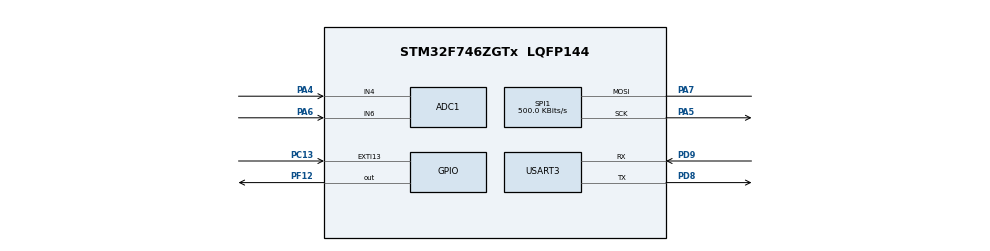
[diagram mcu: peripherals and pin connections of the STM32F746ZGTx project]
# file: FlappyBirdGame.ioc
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ADC1.Channel-0\#ChannelRegularConversion=ADC_CHANNEL_6
ADC1.Channel-1\#ChannelInjectedConversion=ADC_CHANNEL_4
ADC1.Channel-2\#ChannelInjectedConversion=ADC_CHANNEL_4
ADC1.InjNumberOfConversion=2
ADC1.InjectedOffset-1\#ChannelInjectedConversion=0
ADC1.InjectedOffset-2\#ChannelInjectedConversion=0
ADC1.InjectedRank-1\#ChannelInjectedConversion=1
ADC1.InjectedRank-2\#ChannelInjectedConversion=2
ADC1.NbrOfConversionFlag=1
ADC1.Rank-0\#ChannelRegularConversion=1
ADC1.SamplingTime-0\#ChannelRegularConversion=ADC_SAMPLETIME_3CYCLES
ADC1.SamplingTime-1\#ChannelInjectedConversion=ADC_SAMPLETIME_3CYCLES
ADC1.SamplingTime-2\#ChannelInjectedConversion=ADC_SAMPLETIME_3CYCLES
ADC1.ScanConvMode=ADC_SCAN_ENABLE
ADC1.master=1
Mcu.Family=STM32F7
Mcu.Name=STM32F746ZGTx
Mcu.Package=LQFP144
NVIC.EXTI15_10_IRQn=true\:0\:0\:false\:false\:true\:true\:true\:true
NVIC.PriorityGroup=NVIC_PRIORITYGROUP_4
NVIC.SPI1_IRQn=true\:0\:0\:false\:false\:true\:true\:true\:true
NVIC.TIM1_UP_TIM10_IRQn=true\:0\:0\:false\:false\:true\:true\:true\:true
PA13.Mode=Serial_Wire
PA13.Signal=SYS_JTMS-SWDIO
PA14.Mode=Serial_Wire
PA14.Signal=SYS_JTCK-SWCLK
PA4.Signal=ADCx_IN4
PA5.Mode=Simplex_Bidirectional_Master
PA5.Signal=SPI1_SCK
PA6.Signal=ADCx_IN6
PA7.Mode=Simplex_Bidirectional_Master
PA7.Signal=SPI1_MOSI
PC13.GPIO_ModeDefaultEXTI=GPIO_MODE_IT_FALLING
PC13.Signal=GPXTI13
PD8.Mode=Asynchronous
PD8.Signal=USART3_TX
PD9.Mode=Asynchronous
PD9.Signal=USART3_RX
PF12.Signal=GPIO_Output
ProjectManager.HeapSize=0x200
ProjectManager.StackSize=0x400
ProjectManager.TargetToolchain=STM32CubeIDE
RCC.HSE_VALUE=25000000
RCC.HSI_VALUE=16000000
RCC.LSE_VALUE=32768
RCC.USBFreq_Value=96000000
RCC.VCOOutputFreq_Value=192000000
SH.ADCx_IN4.0=ADC1_IN4,IN4
SH.ADCx_IN6.0=ADC1_IN6,IN6
SPI1.BaudRatePrescaler=SPI_BAUDRATEPRESCALER_32
SPI1.CalculateBaudRate=500.0 KBits/s
SPI1.DataSize=SPI_DATASIZE_8BIT
SPI1.Direction=SPI_DIRECTION_1LINE
SPI1.Mode=SPI_MODE_MASTER
SPI1.VirtualType=VM_MASTER
TIM1.Period=19999
TIM1.Prescaler=1599
USART3.VirtualMode-Asynchronous=VM_ASYNC
VP_RNG_VS_RNG.Mode=RNG_Activate
VP_TIM1_VS_ClockSourceINT.Mode=Internal
board=custom

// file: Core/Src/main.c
/* USER CODE BEGIN Header */
/**
  ******************************************************************************
  * @file           : main.c
  * @brief          : Main program body
  ******************************************************************************
  * @attention
  *
  * Copyright (c) 2022 STMicroelectronics.
  * All rights reserved.
  *
  * This software is licensed under terms that can be found in the LICENSE file
  * in the root directory of this software component.
  * If no LICENSE file comes with this software, it is provided AS-IS.
  *
  ******************************************************************************
  */
/* USER CODE END Header */
#include "main.h"

/* USER CODE BEGIN PD */
#define MAX_LED_MATRIX  4
#define OP_NOOP         0
#define OP_DIGIT0       1
#define OP_DIGIT1       2
#define OP_DIGIT2       3
#define OP_DIGIT3       4
#define OP_DIGIT4       5
#define OP_DIGIT5       6
#define OP_DIGIT6       7
#define OP_DIGIT7       8
#define OP_DECODEMODE   9
#define OP_INTENSITY   10
#define OP_SCANLIMIT   11
#define OP_SHUTDOWN    12
#define OP_DISPLAYTEST 15
/* USER CODE END PD */

 ADC_HandleTypeDef hadc1;

RNG_HandleTypeDef hrng;

SPI_HandleTypeDef hspi1;

TIM_HandleTypeDef htim1;

UART_HandleTypeDef huart3;

/* USER CODE BEGIN PV */

typedef struct{
	uint8_t x;
	uint8_t y;
}coordinate;

int isPlaying = 1;
coordinate position = {0, OP_DIGIT7};

// row - screen number
// column - state on row
volatile uint8_t map[4][8]={
		{0x00, 0x00, 0x00, 0x00, 0x00, 0x00, 0x00, 0x00},
		{0x00, 0x00, 0x00, 0x00, 0x00, 0x00, 0x00, 0x00},
		{0x00, 0x00, 0x00, 0x00, 0x00, 0x00, 0x00, 0x00},
		{0x00, 0x00, 0x00, 0x00, 0x00, 0x00, 0x00, 0x00},
 };

uint8_t cell[8] = {0x01, 0x02, 0x04, 0x08, 0x10, 0x20, 0x40, 0x80};

char trans_str[64] = {0,};

/* USER CODE END PV */

void SystemClock_Config(void);
static void MX_GPIO_Init(void);
static void MX_SPI1_Init(void);
static void MX_ADC1_Init(void);
static void MX_USART3_UART_Init(void);
static void MX_TIM1_Init(void);
static void MX_RNG_Init(void);

/* USER CODE BEGIN 0 */

// the function writes LOSE word on the LED screen
void write_Lose(){
	uint8_t buf[2];
	uint8_t L[8] = {0x04,0x04,0x04,0x04,0x04,0x04,0x04,0x7C};
	uint8_t O[8] = {0x3C,0x42,0x42,0x42,0x42,0x42,0x42,0x3C};
	uint8_t S[8] = {0x78,0x04,0x04,0x04,0x38,0x40,0x40,0x3C};
	uint8_t E[8] = {0x7C,0x04,0x04,0x7C,0x04,0x04,0x04,0x7C};
	for(int i = 0; i < 8; i++){
	HAL_GPIO_WritePin (GPIOF, GPIO_PIN_12, GPIO_PIN_RESET);  // pull the CS pin LOW
		buf[0] = 8 - i;
		buf[1] = E[i];
		HAL_SPI_Transmit_IT (&hspi1, buf, 2);

		buf[0] = 8 - i;
		buf[1] = S[i];
		HAL_SPI_Transmit_IT (&hspi1, buf, 2);

		buf[0] = 8 - i;
		buf[1] = O[i];
		HAL_SPI_Transmit_IT (&hspi1, buf, 2);

		buf[0] = 8 - i;
		buf[1] = L[i];
		HAL_SPI_Transmit_IT (&hspi1, buf, 2);
	HAL_GPIO_WritePin (GPIOF, GPIO_PIN_12, GPIO_PIN_SET);  // pull the CS pin HIGH
	HAL_Delay(100);
	}
}

// the function draws obstacles
void draw_bar(){
	uint8_t buf[2];
	for(int i = 1; i < 9; i++){
		buf[0] = i;
		HAL_GPIO_WritePin (GPIOF, GPIO_PIN_12, GPIO_PIN_RESET);  // pull the CS pin LOW
		for(int j = 4; j >= 1; j--){
			// if the row not null
			if(map[j-1][i-1] != 0){
				// if we reach the end of the screen, move to the next
				if((map[j-1][i-1] & 0x01) != 0){
					if(j == 1){
						map[j-1][i-1] &= (~0x01);
					}
					else{
						map[j-1][i-1] &= (~0x01);
						map[j-2][i-1] |= 0x80;
					}
				}
				else{
					// move obstacles
					uint8_t temp = map[j-1][i-1] >> 1;
					map[j-1][i-1] = temp;
				}
			}
			buf[1] = map[j-1][i-1];
			HAL_SPI_Transmit_IT (&hspi1, buf, 2);
		}
		HAL_GPIO_WritePin (GPIOF, GPIO_PIN_12, GPIO_PIN_SET);  // pull the CS pin HIGH
	}
}

// the function checks collisions between bird and environment
void check_collision(){
	// the bird fell to the ground
	if((position.y - 1) < OP_DIGIT0)
		isPlaying = 0;

	// we are on the top
	if((position.y + 1) > OP_DIGIT7)
		position.y -= 1;

	// we have finally reached the screen, start from the beginning
	if(position.x + 1 >= 32)
		position.x = 0;

	// checking the collisions between bird and obstacles
	uint8_t screen = 0;
	if (position.x + 1  < 8)
		screen = 1;
	else if((position.x + 1) >= 8 && (position.x + 1) < 16)
		screen = 2;
	else if((position.x + 1) >= 16 && (position.x + 1)< 24)
		screen = 3;
	else
		screen = 4;

	uint8_t dot = map[screen-1][position.y];
	dot &= cell[(position.x + 1)%8];
	if (dot != 0){
		isPlaying = 0;
	}
}

// the function draws our bird
void draw_cell (uint8_t x, uint8_t y) {
	if(x > 31 || x < 0)
		return;
	if(y > 8 || y < 1)
		return;

	uint8_t screen = 0;
	uint8_t dot = cell[x%8];

	if (x < 8)
		screen = 1;
	else if(x >= 8 && x < 16)
		screen = 2;
	else if(x >= 16 && x < 24)
		screen = 3;
	else
		screen = 4;

	uint8_t buf[2];
	buf[0] = y;
	HAL_GPIO_WritePin (GPIOF, GPIO_PIN_12, GPIO_PIN_RESET);  // pull the CS pin LOW
	for(int i = 4; i >= 1; i--){
		buf[1] = map[i-1][y-1];
		if(i == screen){
			if(map[i-1][y-1] != 0x00){
				dot = map[i-1][y-1];
				dot |= cell[x%8];
				buf[1] = dot;
			}
			else
				buf[1] = dot;
		}
		HAL_SPI_Transmit_IT (&hspi1, buf, 2);
	}
	HAL_GPIO_WritePin (GPIOF, GPIO_PIN_12, GPIO_PIN_SET);  // pull the CS pin HIGH
}

// the function clears bird's old position
void clear_cell (uint8_t x, uint8_t y){
	if(x > 31 || x < 0)
		return;
	if(y > 8 || y < 1)
		return;

	uint8_t screen = 0;
	uint8_t dot = 0x00;

	if (x < 8)
		screen = 1;
	else if(x >= 8 && x < 16)
		screen = 2;
	else if(x >= 16 && x < 24)
		screen = 3;
	else
		screen = 4;

	uint8_t buf[2];
	buf[0] = y;
	HAL_GPIO_WritePin (GPIOF, GPIO_PIN_12, GPIO_PIN_RESET);  // pull the CS pin LOW
	for(int i = 4; i >= 1; i--){
		buf[1] = map[i-1][y-1];
		if(i == screen){
			if(map[i-1][y-1] != 0x00){
				dot = map[i-1][y-1];
				dot &= (~cell[x%8]);
				buf[1] = dot;
			}
			else
				buf[1] = 0x00;
		}
		HAL_SPI_Transmit_IT (&hspi1, buf, 2);
	}
	HAL_GPIO_WritePin (GPIOF, GPIO_PIN_12, GPIO_PIN_SET);  // pull the CS pin HIGH
}

// the function clears whole screen
void clear_all(){
	uint8_t buf[2];
	for(int i = 1; i < 9; i++){
		buf[0] = i;
		buf[1] = 0x00;
		HAL_GPIO_WritePin (GPIOF, GPIO_PIN_12, GPIO_PIN_RESET);  // pull the CS pin LOW
		for(int j = 4; j >= 1; j--){
			HAL_SPI_Transmit_IT (&hspi1, buf, 2);
			map[j-1][i-1] = 0x00;
		}
		HAL_GPIO_WritePin (GPIOF, GPIO_PIN_12, GPIO_PIN_SET);  // pull the CS pin HIGH
	}
}

// the draws bird's next position depending on ADC data
void move(uint16_t x_raw, uint16_t y_raw){
	// parsing raw data
	if(x_raw < 1000 && y_raw < 1000){
		snprintf(trans_str, 63, "down\n\r");
		HAL_UART_Transmit(&huart3, (uint8_t*)trans_str, strlen(trans_str), 1000);
		check_collision();
		position.x += 1;
		position.y -= 1;
		draw_cell(position.x, position.y);
	}
	else if(x_raw > 4000 && y_raw > 4000){
		snprintf(trans_str, 63, "up\n\r");
		HAL_UART_Transmit(&huart3, (uint8_t*)trans_str, strlen(trans_str), 1000);
		check_collision();
		position.x += 1;
		position.y += 1;
		draw_cell(position.x, position.y);
	}
	else{
		snprintf(trans_str, 63, "falling\n\r");
		HAL_UART_Transmit(&huart3, (uint8_t*)trans_str, strlen(trans_str), 1000);
		check_collision();
		position.x += 1;
		position.y -= 1;
		draw_cell(position.x, position.y);
	}
}

// initialize screen
void matrix_init(void) {
	uint8_t buf[2];
	HAL_Delay(500);
	buf[0] = OP_DISPLAYTEST;
	buf[1] = 0x00;
	HAL_GPIO_WritePin(GPIOF, GPIO_PIN_12, GPIO_PIN_RESET);
	HAL_SPI_Transmit_IT (&hspi1, buf, 2);
	HAL_SPI_Transmit_IT (&hspi1, buf, 2);
	HAL_SPI_Transmit_IT (&hspi1, buf, 2);
	HAL_SPI_Transmit_IT (&hspi1, buf, 2);
	HAL_GPIO_WritePin(GPIOF, GPIO_PIN_12, GPIO_PIN_SET);

	buf[0] = OP_SCANLIMIT;
	buf[1] = 0x07;
	HAL_GPIO_WritePin(GPIOF, GPIO_PIN_12, GPIO_PIN_RESET);
	HAL_SPI_Transmit_IT (&hspi1, buf, 2);
	HAL_SPI_Transmit_IT (&hspi1, buf, 2);
	HAL_SPI_Transmit_IT (&hspi1, buf, 2);
	HAL_SPI_Transmit_IT (&hspi1, buf, 2);
	HAL_GPIO_WritePin(GPIOF, GPIO_PIN_12, GPIO_PIN_SET);

	buf[0] = OP_DECODEMODE;
	buf[1] = 0x00;
	HAL_GPIO_WritePin(GPIOF, GPIO_PIN_12, GPIO_PIN_RESET);
	HAL_SPI_Transmit_IT (&hspi1, buf, 2);
	HAL_SPI_Transmit_IT (&hspi1, buf, 2);
	HAL_SPI_Transmit_IT (&hspi1, buf, 2);
	HAL_SPI_Transmit_IT (&hspi1, buf, 2);
	HAL_GPIO_WritePin(GPIOF, GPIO_PIN_12, GPIO_PIN_SET);

	buf[0] = OP_SHUTDOWN;
	buf[1] = 0x01;
	HAL_GPIO_WritePin(GPIOF, GPIO_PIN_12, GPIO_PIN_RESET);
	HAL_SPI_Transmit_IT (&hspi1, buf, 2);
	HAL_SPI_Transmit_IT (&hspi1, buf, 2);
	HAL_SPI_Transmit_IT (&hspi1, buf, 2);
	HAL_SPI_Transmit_IT (&hspi1, buf, 2);
	HAL_GPIO_WritePin(GPIOF, GPIO_PIN_12, GPIO_PIN_SET);

	buf[0] = OP_INTENSITY;
	buf[1] = 0x05;
	HAL_GPIO_WritePin(GPIOF, GPIO_PIN_12, GPIO_PIN_RESET);
	HAL_SPI_Transmit_IT (&hspi1, buf, 2);
	HAL_SPI_Transmit_IT (&hspi1, buf, 2);
	HAL_SPI_Transmit_IT (&hspi1, buf, 2);
	HAL_SPI_Transmit_IT (&hspi1, buf, 2);
	HAL_GPIO_WritePin(GPIOF, GPIO_PIN_12, GPIO_PIN_SET);
}

// every 2 sec we randomly create new obstacles
void HAL_TIM_PeriodElapsedCallback(TIM_HandleTypeDef *htim)
{
        if(htim->Instance == TIM1) //check if the interrupt comes from TIM1
        {
        	uint8_t temp;
        	uint32_t num = HAL_RNG_GetRandomNumber(&hrng);
        	if(num < 1431655765){
        		temp = map[3][5] | 0x80;
        		map[3][5] = temp;
        		temp = map[3][6] | 0x80;
        		map[3][6] = temp;
        		temp = map[3][7] | 0x80;
        		map[3][7] = temp;
        	}
        	else if((num >= 1431655765) & (num < 2863311530)){
        		temp = map[3][2] | 0x80;
      		 	map[3][2] = temp;
        		temp = map[3][3] | 0x80;
      		 	map[3][3] = temp;
        		temp = map[3][4] | 0x80;
      		 	map[3][4] = temp;
        	}
        	else{
        		temp = map[3][0] | 0x80;
        		map[3][0] = temp;
        		temp = map[3][1] | 0x80;
        		map[3][1] = temp;
        	}
        }
}

// restart game
void HAL_GPIO_EXTI_Callback(uint16_t GPIO_Pin) {
	clear_all();
	isPlaying = 1;
	position.x = 0;
	position.y = OP_DIGIT7;
}

/* USER CODE END 0 */

int main(void)
{

  /* MCU Configuration--------------------------------------------------------*/

  /* Reset of all peripherals, Initializes the Flash interface and the Systick. */
  HAL_Init();

  /* Configure the system clock */
  SystemClock_Config();

  /* Initialize all configured peripherals */
  MX_GPIO_Init();
  MX_SPI1_Init();
  MX_ADC1_Init();
  MX_USART3_UART_Init();
  MX_TIM1_Init();
  MX_RNG_Init();
  /* USER CODE BEGIN 2 */

  matrix_init();

  HAL_Delay(500);

  clear_all();

  __HAL_TIM_CLEAR_FLAG(&htim1, TIM_SR_UIF); // очищаем флаг
  HAL_TIM_Base_Start_IT(&htim1);

  /* USER CODE END 2 */

  /* Infinite loop */
  /* USER CODE BEGIN WHILE */
  while (1)
  {
	  if(isPlaying){
		  HAL_ADCEx_InjectedStart(&hadc1);
		  HAL_ADC_PollForConversion(&hadc1,100);
		  // the result of polling each channel is written to its own register, and we pick it up and copy it to a variable
		  uint16_t x_raw = HAL_ADCEx_InjectedGetValue(&hadc1, ADC_INJECTED_RANK_1);
		  uint16_t y_raw = HAL_ADCEx_InjectedGetValue(&hadc1, ADC_INJECTED_RANK_2);

		  draw_bar();
		  move(x_raw, y_raw);
		  HAL_Delay(500);
		  clear_cell(position.x, position.y);
	  	  }
	  	  else{
	  		  write_Lose();
	  	  }

    /* USER CODE END WHILE */

  }
}

void SystemClock_Config(void)
{
  RCC_OscInitTypeDef RCC_OscInitStruct = {0};
  RCC_ClkInitTypeDef RCC_ClkInitStruct = {0};

  /** Configure the main internal regulator output voltage
  */
  __HAL_RCC_PWR_CLK_ENABLE();
  __HAL_PWR_VOLTAGESCALING_CONFIG(PWR_REGULATOR_VOLTAGE_SCALE3);

  /** Initializes the RCC Oscillators according to the specified parameters
  * in the RCC_OscInitTypeDef structure.
  */
  RCC_OscInitStruct.OscillatorType = RCC_OSCILLATORTYPE_HSI;
  RCC_OscInitStruct.HSIState = RCC_HSI_ON;
  RCC_OscInitStruct.HSICalibrationValue = RCC_HSICALIBRATION_DEFAULT;
  RCC_OscInitStruct.PLL.PLLState = RCC_PLL_ON;
  RCC_OscInitStruct.PLL.PLLSource = RCC_PLLSOURCE_HSI;
  RCC_OscInitStruct.PLL.PLLM = 16;
  RCC_OscInitStruct.PLL.PLLN = 192;
  RCC_OscInitStruct.PLL.PLLP = RCC_PLLP_DIV2;
  RCC_OscInitStruct.PLL.PLLQ = 2;
  if (HAL_RCC_OscConfig(&RCC_OscInitStruct) != HAL_OK)
  {
    Error_Handler();
  }

  /** Initializes the CPU, AHB and APB buses clocks
  */
  RCC_ClkInitStruct.ClockType = RCC_CLOCKTYPE_HCLK|RCC_CLOCKTYPE_SYSCLK
                              |RCC_CLOCKTYPE_PCLK1|RCC_CLOCKTYPE_PCLK2;
  RCC_ClkInitStruct.SYSCLKSource = RCC_SYSCLKSOURCE_HSI;
  RCC_ClkInitStruct.AHBCLKDivider = RCC_SYSCLK_DIV1;
  RCC_ClkInitStruct.APB1CLKDivider = RCC_HCLK_DIV1;
  RCC_ClkInitStruct.APB2CLKDivider = RCC_HCLK_DIV1;

  if (HAL_RCC_ClockConfig(&RCC_ClkInitStruct, FLASH_LATENCY_0) != HAL_OK)
  {
    Error_Handler();
  }
}

static void MX_ADC1_Init(void)
{

  ADC_ChannelConfTypeDef sConfig = {0};
  ADC_InjectionConfTypeDef sConfigInjected = {0};

  /** Configure the global features of the ADC (Clock, Resolution, Data Alignment and number of conversion)
  */
  hadc1.Instance = ADC1;
  hadc1.Init.ClockPrescaler = ADC_CLOCK_SYNC_PCLK_DIV2;
  hadc1.Init.Resolution = ADC_RESOLUTION_12B;
  hadc1.Init.ScanConvMode = ADC_SCAN_ENABLE;
  hadc1.Init.ContinuousConvMode = DISABLE;
  hadc1.Init.DiscontinuousConvMode = DISABLE;
  hadc1.Init.ExternalTrigConvEdge = ADC_EXTERNALTRIGCONVEDGE_NONE;
  hadc1.Init.ExternalTrigConv = ADC_SOFTWARE_START;
  hadc1.Init.DataAlign = ADC_DATAALIGN_RIGHT;
  hadc1.Init.NbrOfConversion = 1;
  hadc1.Init.DMAContinuousRequests = DISABLE;
  hadc1.Init.EOCSelection = ADC_EOC_SINGLE_CONV;
  if (HAL_ADC_Init(&hadc1) != HAL_OK)
  {
    Error_Handler();
  }

  /** Configure for the selected ADC regular channel its corresponding rank in the sequencer and its sample time.
  */
  sConfig.Channel = ADC_CHANNEL_6;
  sConfig.Rank = ADC_REGULAR_RANK_1;
  sConfig.SamplingTime = ADC_SAMPLETIME_3CYCLES;
  if (HAL_ADC_ConfigChannel(&hadc1, &sConfig) != HAL_OK)
  {
    Error_Handler();
  }

  /** Configures for the selected ADC injected channel its corresponding rank in the sequencer and its sample time
  */
  sConfigInjected.InjectedChannel = ADC_CHANNEL_4;
  sConfigInjected.InjectedRank = ADC_INJECTED_RANK_1;
  sConfigInjected.InjectedNbrOfConversion = 2;
  sConfigInjected.InjectedSamplingTime = ADC_SAMPLETIME_3CYCLES;
  sConfigInjected.ExternalTrigInjecConvEdge = ADC_EXTERNALTRIGINJECCONVEDGE_NONE;
  sConfigInjected.ExternalTrigInjecConv = ADC_INJECTED_SOFTWARE_START;
  sConfigInjected.AutoInjectedConv = DISABLE;
  sConfigInjected.InjectedDiscontinuousConvMode = DISABLE;
  sConfigInjected.InjectedOffset = 0;
  if (HAL_ADCEx_InjectedConfigChannel(&hadc1, &sConfigInjected) != HAL_OK)
  {
    Error_Handler();
  }

  /** Configures for the selected ADC injected channel its corresponding rank in the sequencer and its sample time
  */
  sConfigInjected.InjectedRank = ADC_INJECTED_RANK_2;
  if (HAL_ADCEx_InjectedConfigChannel(&hadc1, &sConfigInjected) != HAL_OK)
  {
    Error_Handler();
  }

}

static void MX_RNG_Init(void)
{

  hrng.Instance = RNG;
  if (HAL_RNG_Init(&hrng) != HAL_OK)
  {
    Error_Handler();
  }

}

static void MX_SPI1_Init(void)
{

  /* SPI1 parameter configuration*/
  hspi1.Instance = SPI1;
  hspi1.Init.Mode = SPI_MODE_MASTER;
  hspi1.Init.Direction = SPI_DIRECTION_1LINE;
  hspi1.Init.DataSize = SPI_DATASIZE_8BIT;
  hspi1.Init.CLKPolarity = SPI_POLARITY_LOW;
  hspi1.Init.CLKPhase = SPI_PHASE_1EDGE;
  hspi1.Init.NSS = SPI_NSS_SOFT;
  hspi1.Init.BaudRatePrescaler = SPI_BAUDRATEPRESCALER_32;
  hspi1.Init.FirstBit = SPI_FIRSTBIT_MSB;
  hspi1.Init.TIMode = SPI_TIMODE_DISABLE;
  hspi1.Init.CRCCalculation = SPI_CRCCALCULATION_DISABLE;
  hspi1.Init.CRCPolynomial = 7;
  hspi1.Init.CRCLength = SPI_CRC_LENGTH_DATASIZE;
  hspi1.Init.NSSPMode = SPI_NSS_PULSE_ENABLE;
  if (HAL_SPI_Init(&hspi1) != HAL_OK)
  {
    Error_Handler();
  }

}

static void MX_TIM1_Init(void)
{

  TIM_ClockConfigTypeDef sClockSourceConfig = {0};
  TIM_MasterConfigTypeDef sMasterConfig = {0};

  htim1.Instance = TIM1;
  htim1.Init.Prescaler = 1599;
  htim1.Init.CounterMode = TIM_COUNTERMODE_UP;
  htim1.Init.Period = 19999;
  htim1.Init.ClockDivision = TIM_CLOCKDIVISION_DIV1;
  htim1.Init.RepetitionCounter = 0;
  htim1.Init.AutoReloadPreload = TIM_AUTORELOAD_PRELOAD_DISABLE;
  if (HAL_TIM_Base_Init(&htim1) != HAL_OK)
  {
    Error_Handler();
  }
  sClockSourceConfig.ClockSource = TIM_CLOCKSOURCE_INTERNAL;
  if (HAL_TIM_ConfigClockSource(&htim1, &sClockSourceConfig) != HAL_OK)
  {
    Error_Handler();
  }
  sMasterConfig.MasterOutputTrigger = TIM_TRGO_RESET;
  sMasterConfig.MasterOutputTrigger2 = TIM_TRGO2_RESET;
  sMasterConfig.MasterSlaveMode = TIM_MASTERSLAVEMODE_DISABLE;
  if (HAL_TIMEx_MasterConfigSynchronization(&htim1, &sMasterConfig) != HAL_OK)
  {
    Error_Handler();
  }

}

static void MX_USART3_UART_Init(void)
{

  huart3.Instance = USART3;
  huart3.Init.BaudRate = 115200;
  huart3.Init.WordLength = UART_WORDLENGTH_8B;
  huart3.Init.StopBits = UART_STOPBITS_1;
  huart3.Init.Parity = UART_PARITY_NONE;
  huart3.Init.Mode = UART_MODE_TX_RX;
  huart3.Init.HwFlowCtl = UART_HWCONTROL_NONE;
  huart3.Init.OverSampling = UART_OVERSAMPLING_16;
  huart3.Init.OneBitSampling = UART_ONE_BIT_SAMPLE_DISABLE;
  huart3.AdvancedInit.AdvFeatureInit = UART_ADVFEATURE_NO_INIT;
  if (HAL_UART_Init(&huart3) != HAL_OK)
  {
    Error_Handler();
  }

}

static void MX_GPIO_Init(void)
{
  GPIO_InitTypeDef GPIO_InitStruct = {0};

  /* GPIO Ports Clock Enable */
  __HAL_RCC_GPIOC_CLK_ENABLE();
  __HAL_RCC_GPIOA_CLK_ENABLE();
  __HAL_RCC_GPIOF_CLK_ENABLE();
  __HAL_RCC_GPIOD_CLK_ENABLE();

  /*Configure GPIO pin Output Level */
  HAL_GPIO_WritePin(GPIOF, GPIO_PIN_12, GPIO_PIN_RESET);

  /*Configure GPIO pin : PC13 */
  GPIO_InitStruct.Pin = GPIO_PIN_13;
  GPIO_InitStruct.Mode = GPIO_MODE_IT_FALLING;
  GPIO_InitStruct.Pull = GPIO_NOPULL;
  HAL_GPIO_Init(GPIOC, &GPIO_InitStruct);

  /*Configure GPIO pin : PF12 */
  GPIO_InitStruct.Pin = GPIO_PIN_12;
  GPIO_InitStruct.Mode = GPIO_MODE_OUTPUT_PP;
  GPIO_InitStruct.Pull = GPIO_NOPULL;
  GPIO_InitStruct.Speed = GPIO_SPEED_FREQ_LOW;
  HAL_GPIO_Init(GPIOF, &GPIO_InitStruct);

  /* EXTI interrupt init*/
  HAL_NVIC_SetPriority(EXTI15_10_IRQn, 0, 0);
  HAL_NVIC_EnableIRQ(EXTI15_10_IRQn);

}

void Error_Handler(void)
{
  __disable_irq();
  while (1)
  {
  }
}
